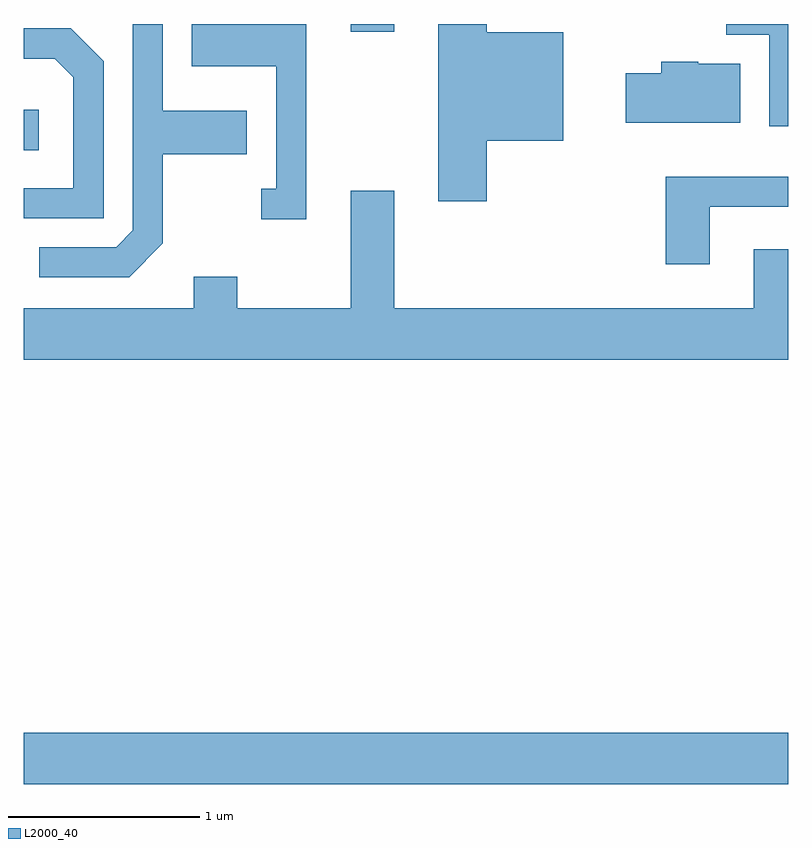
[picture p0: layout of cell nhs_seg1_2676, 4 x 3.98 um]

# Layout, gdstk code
import gdstk
lib = gdstk.Library(unit=1e-6, precision=1e-09)
def R(c, l, rs):  # rectangles x0, y0, x1, y1
    for r in rs: c.add(gdstk.rectangle(r[:2], r[2:], *l))
def P(c, l, *ps):  # polygons
    for p in ps: c.add(gdstk.Polygon(p, *l))
L2000_40 = (2000, 40)

nhs_seg1_2676 = lib.new_cell('nhs_seg1_2676')
R(nhs_seg1_2676, L2000_40, [(265.611,961.736,269.611,962.004), (265.611,965.051,265.689,965.264), (267.321,965.671,267.549,965.712)])
P(nhs_seg1_2676, L2000_40, [(267.089,965.712),(266.491,965.712),(266.491,965.491),(266.931,965.491),(266.931,964.849),(266.853,964.849),(266.853,964.691),(267.089,964.691)],
  [(266.339,964.564),(266.339,965.031),(266.779,965.031),(266.779,965.259),(266.339,965.259),(266.339,965.712),(266.181,965.712),(266.181,964.632),(266.094,964.544),(265.693,964.544),(265.693,964.386),(266.162,964.386)],
  [(268.034,965.101),(268.434,965.101),(268.434,965.669),(268.034,965.669),(268.034,965.712),(267.781,965.712),(267.781,964.786),(268.034,964.786)],
  [(269.611,965.712),(269.286,965.712),(269.286,965.656),(269.511,965.656),(269.511,965.176),(269.611,965.176)],
  [(266.029,965.517),(265.857,965.689),(265.611,965.689),(265.611,965.531),(265.774,965.531),(265.871,965.434),(265.871,964.854),(265.611,964.854),(265.611,964.696),(266.029,964.696)],
  [(269.359,965.504),(269.14,965.504),(269.14,965.514),(268.946,965.514),(268.946,965.454),(268.761,965.454),(268.761,965.196),(269.359,965.196)],
  [(269.199,964.756),(269.611,964.756),(269.611,964.914),(268.971,964.914),(268.971,964.456),(269.199,964.456)],
  [(269.611,964.534),(269.431,964.534),(269.431,964.224),(267.549,964.224),(267.549,964.839),(267.321,964.839),(267.321,964.224),(266.729,964.224),(266.729,964.389),(266.501,964.389),(266.501,964.224),(265.611,964.224),(265.611,963.956),(269.611,963.956)])

lib.write_gds('nhs_seg1_2676.gds')
